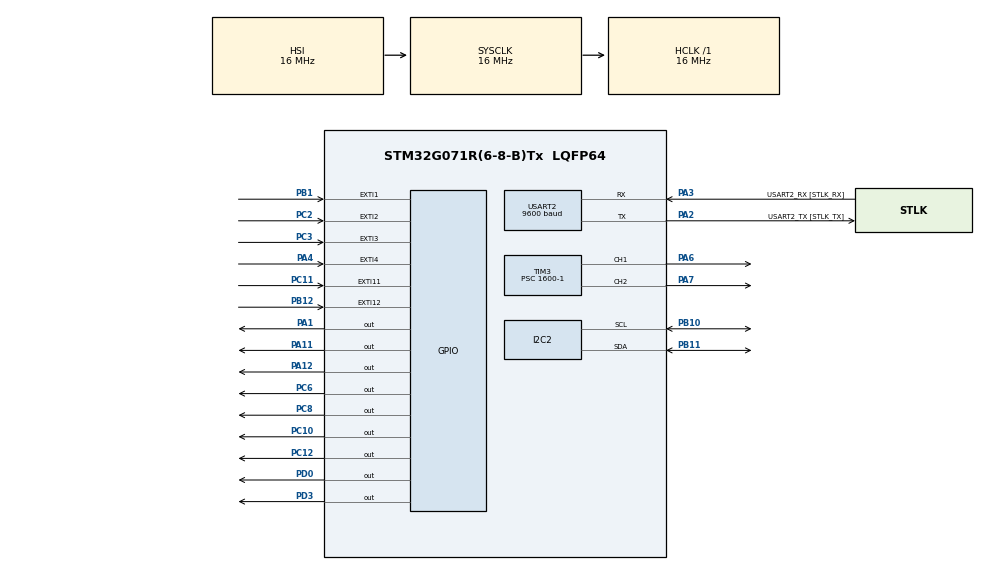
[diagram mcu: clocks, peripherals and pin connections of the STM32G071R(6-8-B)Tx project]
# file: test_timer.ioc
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Mcu.Family=STM32G0
Mcu.Name=STM32G071R(6-8-B)Tx
Mcu.Package=LQFP64
NVIC.EXTI0_1_IRQn=true\:0\:0\:false\:false\:true\:true\:true\:true
NVIC.EXTI2_3_IRQn=true\:0\:0\:false\:false\:true\:true\:true\:true
NVIC.EXTI4_15_IRQn=true\:0\:0\:false\:false\:true\:true\:true\:true
PA1.Signal=GPIO_Output
PA11\ [PA9].Signal=GPIO_Output
PA12\ [PA10].GPIO_ModeDefaultOutputPP=GPIO_MODE_OUTPUT_OD
PA12\ [PA10].GPIO_PuPd=GPIO_NOPULL
PA12\ [PA10].Signal=GPIO_Output
PA13.GPIO_Label=TMS
PA13.Mode=Serial_Wire
PA13.Signal=SYS_SWDIO
PA14-BOOT0.GPIO_Label=TCK
PA14-BOOT0.Mode=Serial_Wire
PA14-BOOT0.Signal=SYS_SWCLK
PA2.GPIO_Label=USART2_TX [STLK_TX]
PA2.GPIO_PuPd=GPIO_PULLUP
PA2.Mode=Asynchronous
PA2.Signal=USART2_TX
PA3.GPIO_Label=USART2_RX [STLK_RX]
PA3.GPIO_PuPd=GPIO_PULLUP
PA3.Mode=Asynchronous
PA3.Signal=USART2_RX
PA4.GPIO_ModeDefaultEXTI=GPIO_MODE_IT_RISING_FALLING
PA4.Signal=GPXTI4
PA6.Signal=S_TIM3_CH1
PA7.Signal=S_TIM3_CH2
PB1.GPIO_ModeDefaultEXTI=GPIO_MODE_IT_RISING_FALLING
PB1.Signal=GPXTI1
PB10.Mode=I2C
PB10.Signal=I2C2_SCL
PB11.Mode=I2C
PB11.Signal=I2C2_SDA
PB12.GPIO_ModeDefaultEXTI=GPIO_MODE_IT_RISING_FALLING
PB12.Signal=GPXTI12
PC10.Signal=GPIO_Output
PC11.Signal=GPXTI11
PC12.Signal=GPIO_Output
PC13.Mode=SYS_WakeUp1
PC13.Signal=SYS_WKUP2
PC14-OSC32_IN\ (PC14).Mode=LSE-External-Oscillator
PC14-OSC32_IN\ (PC14).Signal=RCC_OSC32_IN
PC15-OSC32_OUT\ (PC15).Mode=LSE-External-Oscillator
PC15-OSC32_OUT\ (PC15).Signal=RCC_OSC32_OUT
PC2.GPIO_ModeDefaultEXTI=GPIO_MODE_IT_RISING
PC2.Signal=GPXTI2
PC3.GPIO_ModeDefaultEXTI=GPIO_MODE_IT_RISING
PC3.Signal=GPXTI3
PC6.Signal=GPIO_Output
PC8.GPIO_ModeDefaultOutputPP=GPIO_MODE_OUTPUT_OD
PC8.GPIO_PuPd=GPIO_NOPULL
PC8.Signal=GPIO_Output
PD0.Signal=GPIO_Output
PD3.Signal=GPIO_Output
PF0-OSC_IN\ (PF0).GPIO_Label=MCO
PF0-OSC_IN\ (PF0).Signal=RCC_OSC_IN
ProjectManager.HeapSize=0x200
ProjectManager.StackSize=0x400
ProjectManager.TargetToolchain=STM32CubeIDE
RCC.AHBFreq_Value=16000000
RCC.CortexFreq_Value=16000000
RCC.EXTERNAL_CLOCK_VALUE=12288000
RCC.HCLKFreq_Value=16000000
RCC.HSE_VALUE=8000000
RCC.HSI_VALUE=16000000
RCC.SYSCLKFreq_VALUE=16000000
RCC.VCOOutputFreq_Value=128000000
SH.S_TIM3_CH1.0=TIM3_CH1,PWM Generation1 CH1
SH.S_TIM3_CH2.0=TIM3_CH2,PWM Generation2 CH2
TIM1.Prescaler=15
TIM3.Channel-PWM\ Generation1\ CH1=TIM_CHANNEL_1
TIM3.Channel-PWM\ Generation2\ CH2=TIM_CHANNEL_2
TIM3.CounterMode=TIM_COUNTERMODE_DOWN
TIM3.Period=200-1
TIM3.Prescaler=1600-1
USART2.BaudRate=9600
USART2.VirtualMode-Asynchronous=VM_ASYNC
VP_TIM1_VS_ClockSourceINT.Mode=Internal
VP_TIM3_VS_ClockSourceINT.Mode=Internal
board=NUCLEO-G071RB

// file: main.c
/* USER CODE BEGIN Header */
/**
  ******************************************************************************
  * @file           : main.c
  * @brief          : Main program body
  ******************************************************************************
  * @attention
  *
  * Copyright (c) 2025 STMicroelectronics.
  * All rights reserved.
  *
  * This software is licensed under terms that can be found in the LICENSE file
  * in the root directory of this software component.
  * If no LICENSE file comes with this software, it is provided AS-IS.
  *
  ******************************************************************************
  */
/* USER CODE END Header */
#include "main.h"

/* USER CODE BEGIN Includes */

#include "stdio.h"

/* USER CODE END Includes */

/* USER CODE BEGIN PD */

#define scl_0		(GPIOC->BRR  = 1 << 6)
#define scl_1		(GPIOC->BSRR = 1 << 6)
#define sda_0		(GPIOC->BRR  = 1 << 8)
#define sda_1 		(GPIOC->BSRR = 1 << 8)
#define sda_in 		(GPIOC->IDR & (1 << 8))
#define i2c_ack 0
#define i2c_nak 255

#define sck_0 		(GPIOA->BRR  = 1 << 11)
#define sck_1 		(GPIOA->BSRR = 1 << 11)
#define data_0 		(GPIOA->BRR  = 1 << 12)
#define data_1 		(GPIOA->BSRR = 1 << 12)
#define data_in 	(GPIOA->IDR & (1 << 12))

#define TRIG_0		(GPIOA->BRR  = 1 << 1)
#define TRIG_1		(GPIOA->BSRR = 1 << 1)

#define LED0_0		(GPIOC->BRR  = 1 << 10)
#define LED0_1		(GPIOC->BSRR = 1 << 10)
#define LED1_0		(GPIOC->BRR  = 1 << 12)
#define LED1_1		(GPIOC->BSRR = 1 << 12)
#define LED2_0		(GPIOD->BRR  = 1 << 0)
#define LED2_1		(GPIOD->BSRR = 1 << 0)
#define LED3_0		(GPIOD->BRR  = 1 << 3)
#define LED3_1		(GPIOD->BSRR = 1 << 3)

#define SLAVE0_0	(GPIOC->BRR  = 1 << 2)
#define SLAVE0_1 	(GPIOC->BSRR = 1 << 2)
#define SLAVE1_0	(GPIOC->BRR  = 1 << 3)
#define SLAVE1_1 	(GPIOC->BSRR = 1 << 3)

#define READ_BTN	(GPIOC->IDR & (1 << 3))

#define ENTRANCE_CARD_IN	(GPIOC->IDR & (1 << 1))

/* USER CODE END PD */

I2C_HandleTypeDef hi2c2;

TIM_HandleTypeDef htim1;
TIM_HandleTypeDef htim3;

UART_HandleTypeDef huart2;

void SystemClock_Config(void);
static void MX_GPIO_Init(void);
static void MX_USART2_UART_Init(void);
static void MX_TIM1_Init(void);
static void MX_TIM3_Init(void);
static void MX_I2C2_Init(void);
/* USER CODE BEGIN PFP */

void udelay(void);
void delayus(int t);

void i2c_init(void);
void i2c_start(void);
void i2c_stop(void);
uint8_t i2c_write(uint8_t dado);
uint8_t i2c_read(uint8_t ack_state);
void i2c_wrmem(uint8_t slave_addr, uint8_t addr, uint8_t addr_size, uint8_t data);
uint8_t i2c_rdmem(uint8_t slave_addr, uint8_t addr, uint8_t addr_size);

void sht_init(void);
void sht_pulse(void);
void sht_start(void);
void sht_stop(void);
void sht_wrCmd(uint8_t data);
uint8_t sht_rdData(uint8_t confirm);
float sht_rdTemp(void);
uint16_t sht_rdTempRAW(void);
float sht_rdHumid(void);
uint16_t sht_rdHumidRAW(void);
void sht_reSynch(void);

/* USER CODE END PFP */

/* USER CODE BEGIN 0 */

int __io_putchar(int ch) {
	if (ch != '\n') {
//		LCD_WRCHAR(ch);
		HAL_UART_Transmit(&huart2, (uint8_t *) &ch, 1, 2);
	}
	return ch;
}

volatile uint32_t echo_start = 0;
volatile uint32_t echo_end0   = 0;
volatile uint32_t echo_end1   = 0;
volatile uint32_t echo_end2   = 0;
volatile uint32_t echo_end3   = 0;
volatile uint8_t  echo_done0  = 0;
volatile uint8_t  echo_done1  = 0;
volatile uint8_t  echo_done2  = 0;
volatile uint8_t  echo_done3  = 0;

volatile uint8_t ctrl_entrance = 0;
volatile uint8_t ctrl_exit = 0;

void trigger_sensor(){
	TRIG_0;
	delayus(2);
	TRIG_1;
	delayus(10);
	TRIG_0;
}

void transmit_int(uint32_t n) {
	char str[12];
	sprintf(str, "%d", n);
	transmit_str(&str);
}

void transmit_ch(char *ch) {
	HAL_UART_Transmit(&huart2, (uint8_t *) ch, 1, 2);
}

void transmit_str(const char *str) {
	char *ptr = str;
	while (*ptr) transmit_ch(ptr++);
}

TIM_OC_InitTypeDef sConfig_entrance = {0}, sConfig_exit = {0};

void unlock_entrance() {
	HAL_TIM_PWM_Stop(&htim3, TIM_CHANNEL_1);
	sConfig_entrance.Pulse = 20 - 1; //TH = 8ms, TL = 2ms
	HAL_TIM_PWM_ConfigChannel(&htim3, &sConfig_entrance, TIM_CHANNEL_1);
	HAL_TIM_PWM_Init(&htim3);
	HAL_TIM_PWM_Start(&htim3, TIM_CHANNEL_1);
}

void lock_entrance() {
	HAL_TIM_PWM_Stop(&htim3, TIM_CHANNEL_1);
	sConfig_entrance.Pulse = 12 - 1; //TH = 8ms, TL = 2ms
	HAL_TIM_PWM_ConfigChannel(&htim3, &sConfig_entrance, TIM_CHANNEL_1);
	HAL_TIM_PWM_Init(&htim3);
	HAL_TIM_PWM_Start(&htim3, TIM_CHANNEL_1);
}

void lock_exit() {
	HAL_TIM_PWM_Stop(&htim3, TIM_CHANNEL_2);
	sConfig_exit.Pulse = 14-1; //TH = 8ms, TL = 2ms
	HAL_TIM_PWM_ConfigChannel(&htim3, &sConfig_exit, TIM_CHANNEL_2);
	HAL_TIM_PWM_Init(&htim3);
	HAL_TIM_PWM_Start(&htim3, TIM_CHANNEL_2);
}

void unlock_exit() {
	HAL_TIM_PWM_Stop(&htim3, TIM_CHANNEL_2);
	sConfig_exit.Pulse = 24-1; //TH = 8ms, TL = 2ms
	HAL_TIM_PWM_ConfigChannel(&htim3, &sConfig_exit, TIM_CHANNEL_2);
	HAL_TIM_PWM_Init(&htim3);
	HAL_TIM_PWM_Start(&htim3, TIM_CHANNEL_2);
}

/* USER CODE END 0 */

int main(void)
{
  /* USER CODE BEGIN 1 */

	uint32_t pulse0, pulse1, pulse2, pulse3;
	float dist0, dist1, dist2, dist3;

	char nl = '\n';

	uint8_t entrance_cnt, exit_cnt;

	float temp;

	int it;

	uint8_t pass_entrance[4] = {'1', '2', '3', '4'};
	uint8_t pass_exit[4] = {'6', '7', '8', '9'};
	uint8_t pass[4] = {'L', 'U', 'L', 'X'};

	uint8_t pass2[4] = {'M', 'I', 'T', 'U'};

  /* USER CODE END 1 */

  /* MCU Configuration--------------------------------------------------------*/

  /* Reset of all peripherals, Initializes the Flash interface and the Systick. */
  HAL_Init();

  /* Configure the system clock */
  SystemClock_Config();

  /* Initialize all configured peripherals */
  MX_GPIO_Init();
  MX_USART2_UART_Init();
  MX_TIM1_Init();
  MX_TIM3_Init();
  MX_I2C2_Init();
  /* USER CODE BEGIN 2 */

  HAL_I2C_Init(&hi2c2);

  HAL_TIM_Base_Init(&htim3);
  HAL_TIM_PWM_Init(&htim3);

  HAL_TIM_Base_Start(&htim1);
  HAL_TIM_IC_Start_IT(&htim1, TIM_CHANNEL_1);

  HAL_UART_Init(&huart2);

  i2c_init();
  sht_init();

  sConfig_entrance.OCMode = TIM_OCMODE_PWM1;
  sConfig_entrance.OCPolarity = TIM_OCPOLARITY_HIGH;
  sConfig_entrance.OCNPolarity = TIM_OCNPOLARITY_LOW;
  sConfig_entrance.OCFastMode = TIM_OCFAST_DISABLE;
  sConfig_entrance.OCIdleState = TIM_OCIDLESTATE_RESET;
  sConfig_entrance.OCNIdleState = TIM_OCNIDLESTATE_RESET;

  sConfig_exit.OCMode = TIM_OCMODE_PWM1;
  sConfig_exit.OCPolarity = TIM_OCPOLARITY_HIGH;
  sConfig_exit.OCNPolarity = TIM_OCNPOLARITY_LOW;
  sConfig_exit.OCFastMode = TIM_OCFAST_DISABLE;
  sConfig_exit.OCIdleState = TIM_OCIDLESTATE_RESET;
  sConfig_exit.OCNIdleState = TIM_OCNIDLESTATE_RESET;

  sConfig_exit.Pulse = 15 - 1;
  HAL_TIM_PWM_ConfigChannel(&htim3, &sConfig_exit, TIM_CHANNEL_2);
  HAL_TIM_PWM_Init(&htim3);

  HAL_I2C_Mem_Write(&hi2c2, 0xa0, 100, 1, (uint8_t *) &pass, 4, 10);
   HAL_Delay(500);

   for (it = 0; it < 4; it++) {
   	pass[it] = '0';
   }

   HAL_Delay(100);
   HAL_I2C_Mem_Read(&hi2c2, 0xa0, 100, 1, (uint8_t *) &pass, 4, 10);

   printf("\r\n");
   for (it = 0; it < 4; it++) {
   	printf("%c\n", pass[it]);
   }

   nl = '\n';
   transmit_ch(&nl);

   // -----------------

   for (it = 0; it < 4; it++) {
 	  i2c_wrmem(0xa0, 100+it, 1, pass2[it]);
 	  HAL_Delay(20);
 	  pass2[it] = '0';
   }

   nl = '\r';
   HAL_UART_Transmit(&huart2, (uint8_t *) &nl, 1, 2);

   for (it = 0; it < 4; it++) {
 	  pass2[it] = i2c_rdmem(0xa0, 100+it, 1);
 //	  HAL_UART_Transmit(&huart2, (uint8_t *) &pass[it], 1, 2);
 	  printf("%c\n", i2c_rdmem(0xa0, 100+it, 1));

 //	  nl = 'A' + it;
 //	  HAL_UART_Transmit(&huart2, (uint8_t *) &nl, 1, 2);
   }

   nl = '\n';
   HAL_UART_Transmit(&huart2, (uint8_t *) &nl, 1, 2);
   nl = '\r';
   HAL_UART_Transmit(&huart2, (uint8_t *) &nl, 1, 2);

   return 0;

  // entrance test - hardware i2c
  HAL_I2C_Master_Transmit(&hi2c2, 0xa0, (uint8_t *) &pass_entrance, 4, 10);
//   &hi2c1, 0xa0, 100, 1, (uint8_t *) &pass, 4, 10)
  HAL_I2C_Mem_Write(&hi2c2, 0xa0, 100, 1, (uint8_t *) &pass_entrance, 4, 10);
  for (it = 0; it < 4; it++) {
	  pass_entrance[it] = '0';
  }
  HAL_Delay(100);
  HAL_I2C_Mem_Read(&hi2c2, 0xa0, 100, 1, (uint8_t *) &pass_entrance, 4, 10);

  printf("\r\n");
  for (it = 0; it < 4; it++) {
	  printf("%c\n", pass_entrance[it]);
  }

  nl = '\n';
  transmit_ch(&nl);
  nl = '\n';
  transmit_ch(&nl);

  return 0;

  // exit test - emulated i2c
  for (it = 0; it < 4; it++) {
	  i2c_wrmem(0xa0, 100+it, 1, pass_exit[it]);
  	  HAL_Delay(20);
  	  pass_exit[it] = '0';
  }

  for (it = 0; it < 4; it++) {
  	  pass_exit[it] = i2c_rdmem(0xa0, 100+it, 1);
//  	  HAL_UART_Transmit(&huart2, (uint8_t *) &nl, 1, 2);
  }

  printf("\r\n");
  for (it = 0; it < 4; it++) {
	  printf("%c\n", pass_exit[it]);
  }

  return 0;

  lock_entrance();
  lock_exit();

  entrance_cnt = 50;
  exit_cnt = 50;

  printf("\rInicia\n");
  transmit_ch(&nl);

  temp = 3.14f;

  while(ENTRANCE_CARD_IN != 0);

  for (it = 0; it < 4; it++) {
	  i2c_wrmem(0xa0, 100+it, 1, pass[it]);
	  HAL_Delay(20);
	  pass[it] = '0';
  }

  for (it = 0; it < 4; it++) {
	  pass[it] = i2c_rdmem(0xa0, 100+it, 1);
//	  HAL_UART_Transmit(&huart2, (uint8_t *) &pass[it], 1, 2);

	  nl = 'A' + it;
	  HAL_UART_Transmit(&huart2, (uint8_t *) &nl, 1, 2);
  }

  nl = '\n';
  HAL_UART_Transmit(&huart2, (uint8_t *) &nl, 1,2 );

  while(ENTRANCE_CARD_IN == 0);

  /* USER CODE END 2 */

  /* Infinite loop */
  /* USER CODE BEGIN WHILE */
  while (1)
  {
//	  sda_0;
//	  HAL_Delay(2500);
//	  sda_1;
//	  HAL_Delay(2500);
//	  continue;

//	  scl_0;
//	  HAL_Delay(2500);
//	  scl_1;
//	  HAL_Delay(2500);
//	  continue;

	  while (ENTRANCE_CARD_IN != 0);

	  for (it = 0; it < 4; it++) {
		  pass[it] = i2c_rdmem(0xa0, 100+it, 1);
		  transmit_ch((char *) &pass[it]);
	  }
	  nl = '\n';
	  transmit_ch(nl);

	  continue;

	  temp = sht_rdTemp();
	  sht_reSynch();
	  printf("\r%3.2f\n", temp);
	  nl = '\n';
	  transmit_ch(&nl);

	  HAL_Delay(200);

	  continue;

	  if (ctrl_entrance) {
	      if (entrance_cnt == 50) {
	          unlock_entrance();
	      }

	      if (entrance_cnt > 0) {
	          entrance_cnt--;
	      }

	      if (entrance_cnt == 0) {
	          lock_entrance();
	          ctrl_entrance = 0;
	      }

	  } else {
	      entrance_cnt = 50;
	  }

	  if (ctrl_exit) {
		  if (exit_cnt == 50) {
			  unlock_exit();
		  }

		  if (exit_cnt > 0) {
			  exit_cnt--;
		  }

		  if (exit_cnt == 0) {
			  lock_exit();
			  ctrl_exit = 0;
		  }

	  } else {
		  exit_cnt = 50;
	  }

	  transmit_int(entrance_cnt);
	  nl = '\r';
	  transmit_ch(&nl);
	  nl = '\n';
	  transmit_ch(&nl);

	  transmit_int(ctrl_entrance);
	  nl = '\r';
	  transmit_ch(&nl);
	  nl = '\n';
	  transmit_ch(&nl);

	  trigger_sensor();
	  if(echo_done0) {
		  pulse0 = echo_end0 - echo_start; // pulse width em us
	  	  dist0 = (pulse0 * 0.0343f)/2;

//	  	  if (dist0 < 100.0f) {
//	  		  printf("\rDist0 = %05.2f cm\n", dist0);
//	  		  transmit_ch(&nl);
//	  	  }

	  	  if (dist0 < 6.0f) LED0_0;
	  	  else LED0_1;

	  	  echo_done0 = 0;
	  }

	  if(echo_done1) {
		  pulse1 = echo_end1 - echo_start; // pulse width em us
		  dist1 = (pulse1 * 0.0343f)/2;

//		  if (dist1 < 100.0f) {
//			  printf("\rDist1 = %05.2f cm\n", dist1);
//			  transmit_ch(&nl);
//		  }

		  if (dist1 < 6.0f) LED1_0;
		  else LED1_1;

		  echo_done1 = 0;
	  }

	  if(echo_done2) {
		  pulse2 = echo_end2 - echo_start; // pulse width em us
		  dist2 = (pulse2 * 0.0343f)/2;

//		  if (dist2 < 100.0f) {
//			  printf("\rDist2 = %05.2f cm\n", dist2);
//			  transmit_ch(&nl);
//		  }

		  if (dist2 < 6.0f) LED2_0;
		  else LED2_1;

		  echo_done2 = 0;
	  }

	  if(echo_done3) {
		  pulse3 = echo_end3 - echo_start; // pulse width em us
		  dist3 = (pulse3 * 0.0343f)/2;

//		  if (dist3 < 100.0f) {
//			  printf("\rDist3 = %05.2f cm\n", dist3);
//			  transmit_ch(&nl);
//		  }

		  if (dist3 < 6.0f) LED3_0;
		  else LED3_1;

		  echo_done3 = 0;
	  }

	  HAL_Delay(100);

    /* USER CODE END WHILE */

  }
}

void SystemClock_Config(void)
{
  RCC_OscInitTypeDef RCC_OscInitStruct = {0};
  RCC_ClkInitTypeDef RCC_ClkInitStruct = {0};

  /** Configure the main internal regulator output voltage
  */
  HAL_PWREx_ControlVoltageScaling(PWR_REGULATOR_VOLTAGE_SCALE1);

  /** Initializes the RCC Oscillators according to the specified parameters
  * in the RCC_OscInitTypeDef structure.
  */
  RCC_OscInitStruct.OscillatorType = RCC_OSCILLATORTYPE_HSI;
  RCC_OscInitStruct.HSIState = RCC_HSI_ON;
  RCC_OscInitStruct.HSIDiv = RCC_HSI_DIV1;
  RCC_OscInitStruct.HSICalibrationValue = RCC_HSICALIBRATION_DEFAULT;
  RCC_OscInitStruct.PLL.PLLState = RCC_PLL_NONE;
  if (HAL_RCC_OscConfig(&RCC_OscInitStruct) != HAL_OK)
  {
    Error_Handler();
  }

  /** Initializes the CPU, AHB and APB buses clocks
  */
  RCC_ClkInitStruct.ClockType = RCC_CLOCKTYPE_HCLK|RCC_CLOCKTYPE_SYSCLK
                              |RCC_CLOCKTYPE_PCLK1;
  RCC_ClkInitStruct.SYSCLKSource = RCC_SYSCLKSOURCE_HSI;
  RCC_ClkInitStruct.AHBCLKDivider = RCC_SYSCLK_DIV1;
  RCC_ClkInitStruct.APB1CLKDivider = RCC_HCLK_DIV1;

  if (HAL_RCC_ClockConfig(&RCC_ClkInitStruct, FLASH_LATENCY_0) != HAL_OK)
  {
    Error_Handler();
  }
}

static void MX_I2C2_Init(void)
{

  hi2c2.Instance = I2C2;
  hi2c2.Init.Timing = 0x00303D5B;
  hi2c2.Init.OwnAddress1 = 0;
  hi2c2.Init.AddressingMode = I2C_ADDRESSINGMODE_7BIT;
  hi2c2.Init.DualAddressMode = I2C_DUALADDRESS_DISABLE;
  hi2c2.Init.OwnAddress2 = 0;
  hi2c2.Init.OwnAddress2Masks = I2C_OA2_NOMASK;
  hi2c2.Init.GeneralCallMode = I2C_GENERALCALL_DISABLE;
  hi2c2.Init.NoStretchMode = I2C_NOSTRETCH_DISABLE;
  if (HAL_I2C_Init(&hi2c2) != HAL_OK)
  {
    Error_Handler();
  }

  /** Configure Analogue filter
  */
  if (HAL_I2CEx_ConfigAnalogFilter(&hi2c2, I2C_ANALOGFILTER_ENABLE) != HAL_OK)
  {
    Error_Handler();
  }

  /** Configure Digital filter
  */
  if (HAL_I2CEx_ConfigDigitalFilter(&hi2c2, 0) != HAL_OK)
  {
    Error_Handler();
  }

}

static void MX_TIM1_Init(void)
{

  TIM_ClockConfigTypeDef sClockSourceConfig = {0};
  TIM_MasterConfigTypeDef sMasterConfig = {0};

  htim1.Instance = TIM1;
  htim1.Init.Prescaler = 15;
  htim1.Init.CounterMode = TIM_COUNTERMODE_UP;
  htim1.Init.Period = 65535;
  htim1.Init.ClockDivision = TIM_CLOCKDIVISION_DIV1;
  htim1.Init.RepetitionCounter = 0;
  htim1.Init.AutoReloadPreload = TIM_AUTORELOAD_PRELOAD_DISABLE;
  if (HAL_TIM_Base_Init(&htim1) != HAL_OK)
  {
    Error_Handler();
  }
  sClockSourceConfig.ClockSource = TIM_CLOCKSOURCE_INTERNAL;
  if (HAL_TIM_ConfigClockSource(&htim1, &sClockSourceConfig) != HAL_OK)
  {
    Error_Handler();
  }
  sMasterConfig.MasterOutputTrigger = TIM_TRGO_RESET;
  sMasterConfig.MasterOutputTrigger2 = TIM_TRGO2_RESET;
  sMasterConfig.MasterSlaveMode = TIM_MASTERSLAVEMODE_DISABLE;
  if (HAL_TIMEx_MasterConfigSynchronization(&htim1, &sMasterConfig) != HAL_OK)
  {
    Error_Handler();
  }

}

static void MX_TIM3_Init(void)
{

  TIM_ClockConfigTypeDef sClockSourceConfig = {0};
  TIM_MasterConfigTypeDef sMasterConfig = {0};
  TIM_OC_InitTypeDef sConfigOC = {0};

  htim3.Instance = TIM3;
  htim3.Init.Prescaler = 1600-1;
  htim3.Init.CounterMode = TIM_COUNTERMODE_DOWN;
  htim3.Init.Period = 200-1;
  htim3.Init.ClockDivision = TIM_CLOCKDIVISION_DIV1;
  htim3.Init.AutoReloadPreload = TIM_AUTORELOAD_PRELOAD_DISABLE;
  if (HAL_TIM_Base_Init(&htim3) != HAL_OK)
  {
    Error_Handler();
  }
  sClockSourceConfig.ClockSource = TIM_CLOCKSOURCE_INTERNAL;
  if (HAL_TIM_ConfigClockSource(&htim3, &sClockSourceConfig) != HAL_OK)
  {
    Error_Handler();
  }
  if (HAL_TIM_PWM_Init(&htim3) != HAL_OK)
  {
    Error_Handler();
  }
  sMasterConfig.MasterOutputTrigger = TIM_TRGO_RESET;
  sMasterConfig.MasterSlaveMode = TIM_MASTERSLAVEMODE_DISABLE;
  if (HAL_TIMEx_MasterConfigSynchronization(&htim3, &sMasterConfig) != HAL_OK)
  {
    Error_Handler();
  }
  sConfigOC.OCMode = TIM_OCMODE_PWM1;
  sConfigOC.Pulse = 0;
  sConfigOC.OCPolarity = TIM_OCPOLARITY_HIGH;
  sConfigOC.OCFastMode = TIM_OCFAST_DISABLE;
  if (HAL_TIM_PWM_ConfigChannel(&htim3, &sConfigOC, TIM_CHANNEL_1) != HAL_OK)
  {
    Error_Handler();
  }
  if (HAL_TIM_PWM_ConfigChannel(&htim3, &sConfigOC, TIM_CHANNEL_2) != HAL_OK)
  {
    Error_Handler();
  }
  HAL_TIM_MspPostInit(&htim3);

}

static void MX_USART2_UART_Init(void)
{

  huart2.Instance = USART2;
  huart2.Init.BaudRate = 9600;
  huart2.Init.WordLength = UART_WORDLENGTH_8B;
  huart2.Init.StopBits = UART_STOPBITS_1;
  huart2.Init.Parity = UART_PARITY_NONE;
  huart2.Init.Mode = UART_MODE_TX_RX;
  huart2.Init.HwFlowCtl = UART_HWCONTROL_NONE;
  huart2.Init.OverSampling = UART_OVERSAMPLING_16;
  huart2.Init.OneBitSampling = UART_ONE_BIT_SAMPLE_DISABLE;
  huart2.Init.ClockPrescaler = UART_PRESCALER_DIV1;
  huart2.AdvancedInit.AdvFeatureInit = UART_ADVFEATURE_NO_INIT;
  if (HAL_UART_Init(&huart2) != HAL_OK)
  {
    Error_Handler();
  }
  if (HAL_UARTEx_SetTxFifoThreshold(&huart2, UART_TXFIFO_THRESHOLD_1_8) != HAL_OK)
  {
    Error_Handler();
  }
  if (HAL_UARTEx_SetRxFifoThreshold(&huart2, UART_RXFIFO_THRESHOLD_1_8) != HAL_OK)
  {
    Error_Handler();
  }
  if (HAL_UARTEx_DisableFifoMode(&huart2) != HAL_OK)
  {
    Error_Handler();
  }

}

static void MX_GPIO_Init(void)
{
  GPIO_InitTypeDef GPIO_InitStruct = {0};

  /* GPIO Ports Clock Enable */
  __HAL_RCC_GPIOC_CLK_ENABLE();
  __HAL_RCC_GPIOF_CLK_ENABLE();
  __HAL_RCC_GPIOA_CLK_ENABLE();
  __HAL_RCC_GPIOB_CLK_ENABLE();
  __HAL_RCC_GPIOD_CLK_ENABLE();

  /*Configure GPIO pin Output Level */
  HAL_GPIO_WritePin(GPIOC, GPIO_PIN_12|GPIO_PIN_6|GPIO_PIN_8|GPIO_PIN_10, GPIO_PIN_RESET);

  /*Configure GPIO pin Output Level */
  HAL_GPIO_WritePin(GPIOA, GPIO_PIN_1|GPIO_PIN_11|GPIO_PIN_12, GPIO_PIN_RESET);

  /*Configure GPIO pin Output Level */
  HAL_GPIO_WritePin(GPIOD, GPIO_PIN_0|GPIO_PIN_3, GPIO_PIN_RESET);

  /*Configure GPIO pins : PC11 PC2 PC3 */
  GPIO_InitStruct.Pin = GPIO_PIN_11|GPIO_PIN_2|GPIO_PIN_3;
  GPIO_InitStruct.Mode = GPIO_MODE_IT_RISING;
  GPIO_InitStruct.Pull = GPIO_NOPULL;
  HAL_GPIO_Init(GPIOC, &GPIO_InitStruct);

  /*Configure GPIO pins : PC12 PC6 PC10 */
  GPIO_InitStruct.Pin = GPIO_PIN_12|GPIO_PIN_6|GPIO_PIN_10;
  GPIO_InitStruct.Mode = GPIO_MODE_OUTPUT_PP;
  GPIO_InitStruct.Pull = GPIO_NOPULL;
  GPIO_InitStruct.Speed = GPIO_SPEED_FREQ_LOW;
  HAL_GPIO_Init(GPIOC, &GPIO_InitStruct);

  /*Configure GPIO pins : PA1 PA11 */
  GPIO_InitStruct.Pin = GPIO_PIN_1|GPIO_PIN_11;
  GPIO_InitStruct.Mode = GPIO_MODE_OUTPUT_PP;
  GPIO_InitStruct.Pull = GPIO_NOPULL;
  GPIO_InitStruct.Speed = GPIO_SPEED_FREQ_LOW;
  HAL_GPIO_Init(GPIOA, &GPIO_InitStruct);

  /*Configure GPIO pin : PA4 */
  GPIO_InitStruct.Pin = GPIO_PIN_4;
  GPIO_InitStruct.Mode = GPIO_MODE_IT_RISING_FALLING;
  GPIO_InitStruct.Pull = GPIO_NOPULL;
  HAL_GPIO_Init(GPIOA, &GPIO_InitStruct);

  /*Configure GPIO pins : PB1 PB12 */
  GPIO_InitStruct.Pin = GPIO_PIN_1|GPIO_PIN_12;
  GPIO_InitStruct.Mode = GPIO_MODE_IT_RISING_FALLING;
  GPIO_InitStruct.Pull = GPIO_NOPULL;
  HAL_GPIO_Init(GPIOB, &GPIO_InitStruct);

  /*Configure GPIO pin : PA12 */
  GPIO_InitStruct.Pin = GPIO_PIN_12;
  GPIO_InitStruct.Mode = GPIO_MODE_OUTPUT_OD;
  GPIO_InitStruct.Pull = GPIO_NOPULL;
  GPIO_InitStruct.Speed = GPIO_SPEED_FREQ_LOW;
  HAL_GPIO_Init(GPIOA, &GPIO_InitStruct);

  /*Configure GPIO pin : PC8 */
  GPIO_InitStruct.Pin = GPIO_PIN_8;
  GPIO_InitStruct.Mode = GPIO_MODE_OUTPUT_OD;
  GPIO_InitStruct.Pull = GPIO_NOPULL;
  GPIO_InitStruct.Speed = GPIO_SPEED_FREQ_LOW;
  HAL_GPIO_Init(GPIOC, &GPIO_InitStruct);

  /*Configure GPIO pins : PD0 PD3 */
  GPIO_InitStruct.Pin = GPIO_PIN_0|GPIO_PIN_3;
  GPIO_InitStruct.Mode = GPIO_MODE_OUTPUT_PP;
  GPIO_InitStruct.Pull = GPIO_NOPULL;
  GPIO_InitStruct.Speed = GPIO_SPEED_FREQ_LOW;
  HAL_GPIO_Init(GPIOD, &GPIO_InitStruct);

  /* EXTI interrupt init*/
  HAL_NVIC_SetPriority(EXTI0_1_IRQn, 0, 0);
  HAL_NVIC_EnableIRQ(EXTI0_1_IRQn);

  HAL_NVIC_SetPriority(EXTI2_3_IRQn, 0, 0);
  HAL_NVIC_EnableIRQ(EXTI2_3_IRQn);

  HAL_NVIC_SetPriority(EXTI4_15_IRQn, 0, 0);
  HAL_NVIC_EnableIRQ(EXTI4_15_IRQn);

}

/* USER CODE BEGIN 4 */

void udelay(void) {
	int t = 7;
	while(t--);
}

void delayus(int t) {
	while(t--) udelay();
}

//--------------------------
//			I2C
//--------------------------
void i2c_init(void)
{
	sda_1;
	scl_1;
	delayus(50);
}

void i2c_start(void)
{
	sda_0;
	delayus(5);
	scl_0;
	delayus(1);
}

void i2c_stop(void)
{
	sda_0;
	delayus(1);
	scl_1;
	delayus(5);
	sda_1;
	delayus(5);
}

uint8_t i2c_write(uint8_t dado)
{
	int8_t i;
	uint8_t resp;
	for (i = 7; i >= 0; i--)
	{
		if ((dado & (1 << i)) != 0) sda_1; else sda_0;
		delayus(1);
		scl_1;
		delayus(5);
		scl_0;
		delayus(5);
	}
	sda_1;
	delayus(1);
	scl_1;
	if (sda_in != 0) resp = i2c_nak; else resp = i2c_ack;
	delayus(5);
	scl_0;
	delayus(5);
	sda_0;
	delayus(1);
	return resp;
}

uint8_t i2c_read(uint8_t ack_state)
{
	int8_t i;
	uint8_t v = 0;
	sda_1;
	delayus(1);
	for (i = 7; i >= 0; i--)
	{
		v <<= 1;
		scl_1;
		if (sda_in != 0) v++;
		delayus(5);
		scl_0;
		delayus(5);
	}
	if (ack_state) sda_1; else sda_0;
	scl_1;
	delayus(5);
	scl_0;
	delayus(5);
	return v;
}

void i2c_wrmem(uint8_t slave_addr, uint8_t addr, uint8_t addr_size, uint8_t data)
{
	uint8_t hi_addr, lo_addr;

	hi_addr = addr/256;
	lo_addr = addr%256;

	i2c_start();

	i2c_write((slave_addr & 0xfe)); // Garante que op seja 0 (wr)

	if(addr_size == 2) i2c_write(hi_addr);
	i2c_write(lo_addr);

	i2c_write(data);

	i2c_stop();
}

uint8_t i2c_rdmem(uint8_t slave_addr, uint8_t addr, uint8_t addr_size)
{
	uint8_t resp;
	uint8_t hi_addr, lo_addr;

	hi_addr = addr/256;
	lo_addr = addr%256;

	i2c_start();

	i2c_write((slave_addr & 0xfe)); // Garante que op seja 0 (wr)

	if(addr_size == 2) i2c_write(hi_addr);
	i2c_write(lo_addr);

	i2c_stop();
	i2c_start();

	i2c_write((slave_addr & 0xfe) + 1); // Garante que op seja 1 (rd)
	resp = i2c_read(i2c_nak);

	i2c_stop();

	return resp;
}

//--------------------------
//			SHT15
//--------------------------

void sht_init(void)
{
	data_0;
	sck_0;
	data_1;
	delayus(10);
}

void sht_pulse(void)
{
	delayus(1);
	sck_1;
	delayus(2);
	sck_0;
	delayus(1);
}

void sht_start(void)
{
	sck_1;
	delayus(1);
	data_0;
	delayus(1);
	sck_0;
	delayus(1);
	sck_1;
	delayus(1);
	data_1;
	delayus(1);
	sck_0;
	delayus(1);
}

void sht_stop(void)
{
	data_1;
	sht_pulse();
}

void sht_wrCmd(uint8_t data)
{
	uint8_t n;
	for(n=0; n<8; n++)
	{
		if((data & (1<<(7-n))) == 0) data_0; else data_1;
		sht_pulse();
	}
	data_1; // Libera a porta para leitura...
	sht_pulse(); // Ack do device...
}

uint8_t sht_rdData(uint8_t confirm)
{
	uint8_t n, val=0;
	data_1;
	for(n=0; n<8; n++)
	{
		val <<= 1;
		delayus(1);
		sck_1;
		delayus(1);

		if(data_in != 0) val++;
		delayus(1);
		sck_0;
		delayus(1);
	}
	if(confirm == 0) data_0; else data_1;
	sht_pulse();
	data_1;
	return val;
}

float sht_rdTemp(void)
{
	uint16_t temp = 0;
	uint8_t Hi_data, Lo_data;
	float linear_temp;
	sht_start();
	sht_wrCmd(0x03);
	while(data_in != 0) HAL_Delay(1); // Aguarda data_in = 0
	Hi_data = sht_rdData(0); // ACK
	Lo_data = sht_rdData(0xff); // NAK e Stop...
	temp = (Hi_data<<8)+Lo_data;
	linear_temp = 0.0102*temp-40.988;
	return linear_temp;
}

uint16_t sht_rdTempRAW(void)
{
	uint16_t temp = 0;
	uint8_t Hi_data, Lo_data;
	sht_start();
	sht_wrCmd(0x03);
	while(data_in != 0) HAL_Delay(1); // Aguarda data_in = 0...
	Hi_data = sht_rdData(0); // ACK
	Lo_data = sht_rdData(0xff); // NAK e Stop...
	temp = (Hi_data<<8)+Lo_data;
	return temp;
}

float sht_rdHumid(void)
{
	uint16_t humid = 0;
	uint8_t Hi_data, Lo_data;
	float linear_humid;
	sht_start();
	sht_wrCmd(0x05);
	while(data_in != 0) HAL_Delay(1); // Aguarda data_in = 0...
	Hi_data = sht_rdData(0); // ACK
	Lo_data = sht_rdData(0xff); // NAK e Stop...
	humid = (Hi_data<<8)+Lo_data;
	linear_humid = (4e-10)*humid*humid*humid - 0.000005*humid*humid + 0.0434*humid -7.3845;
	return linear_humid;
}

uint16_t sht_rdHumidRAW(void)
{
	uint16_t humid = 0;
	uint8_t Hi_data, Lo_data;
	sht_start();
	sht_wrCmd(0x05);
	while(data_in != 0) HAL_Delay(1); // Aguarda data_in = 0...
	Hi_data = sht_rdData(0); // ACK
	Lo_data = sht_rdData(0xff); // NAK e Stop...
	humid = (Hi_data<<8)+Lo_data;
	return humid;
}

void sht_reSynch(void)
{
	uint8_t n;
	data_1;
	for(n=0; n<10; n++)
	{
		sht_pulse();
	}
}
//--------------------------

void HAL_GPIO_EXTI_Rising_Callback(uint16_t GPIO_PIN) {
	if(GPIO_PIN == GPIO_PIN_4) {
		__HAL_TIM_SET_COUNTER(&htim1, 0);
		echo_start = 0;
	}

	if(GPIO_PIN == GPIO_PIN_1) {
		__HAL_TIM_SET_COUNTER(&htim1, 0);
		echo_start = 0;
	}

	if(GPIO_PIN == GPIO_PIN_11) {
		__HAL_TIM_SET_COUNTER(&htim1, 0);
		echo_start = 0;
	}

	if(GPIO_PIN == GPIO_PIN_12) {
		__HAL_TIM_SET_COUNTER(&htim1, 0);
		echo_start = 0;
	}

	if(GPIO_PIN == GPIO_PIN_2) {
		ctrl_exit = 1;
	}

	if(GPIO_PIN == GPIO_PIN_3) {
		ctrl_entrance = 1;
	}
}

void HAL_GPIO_EXTI_Falling_Callback(uint16_t GPIO_PIN) {
	if(GPIO_PIN == GPIO_PIN_4) {
		echo_end0 = __HAL_TIM_GET_COUNTER(&htim1);
		echo_done0 = 1;
	}

	if(GPIO_PIN == GPIO_PIN_1) {
		echo_end1 = __HAL_TIM_GET_COUNTER(&htim1);
		echo_done1 = 1;
	}

	if(GPIO_PIN == GPIO_PIN_11) {
		echo_end2 = __HAL_TIM_GET_COUNTER(&htim1);
		echo_done2 = 1;
	}

	if(GPIO_PIN == GPIO_PIN_12) {
		echo_end3 = __HAL_TIM_GET_COUNTER(&htim1);
		echo_done3 = 1;
	}
}

/* USER CODE END 4 */

void Error_Handler(void)
{
  __disable_irq();
  while (1)
  {
  }
}
